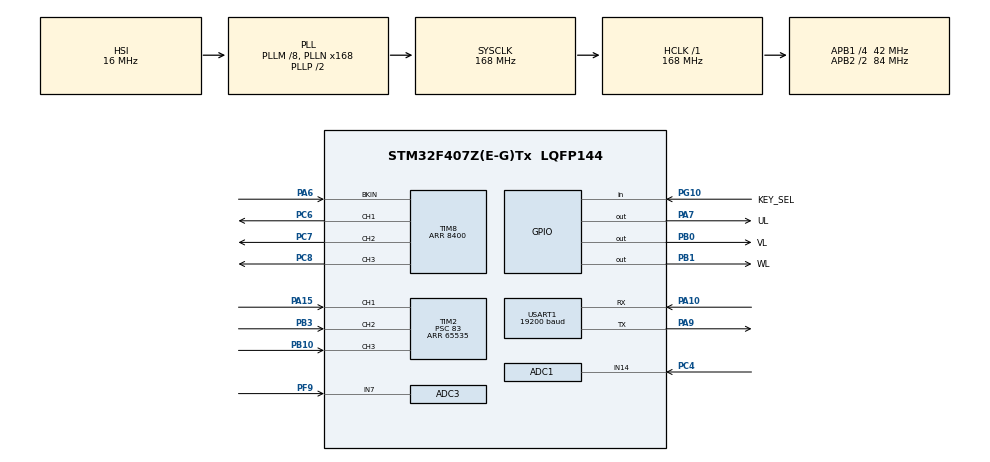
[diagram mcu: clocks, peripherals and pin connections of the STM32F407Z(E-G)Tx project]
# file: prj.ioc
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ADC1.Channel-0\#ChannelRegularConversion=ADC_CHANNEL_14
ADC1.ContinuousConvMode=ENABLE
ADC1.DMAContinuousRequests=ENABLE
ADC1.NbrOfConversionFlag=1
ADC1.Rank-0\#ChannelRegularConversion=1
ADC1.SamplingTime-0\#ChannelRegularConversion=ADC_SAMPLETIME_3CYCLES
ADC1.master=1
ADC3.Channel-0\#ChannelRegularConversion=ADC_CHANNEL_7
ADC3.ContinuousConvMode=ENABLE
ADC3.DMAContinuousRequests=ENABLE
ADC3.NbrOfConversionFlag=1
ADC3.Rank-0\#ChannelRegularConversion=1
ADC3.SamplingTime-0\#ChannelRegularConversion=ADC_SAMPLETIME_3CYCLES
Dma.ADC1.1.Direction=DMA_PERIPH_TO_MEMORY
Dma.ADC1.1.FIFOMode=DMA_FIFOMODE_DISABLE
Dma.ADC1.1.Instance=DMA2_Stream0
Dma.ADC1.1.MemDataAlignment=DMA_MDATAALIGN_HALFWORD
Dma.ADC1.1.MemInc=DMA_MINC_ENABLE
Dma.ADC1.1.Mode=DMA_CIRCULAR
Dma.ADC1.1.PeriphDataAlignment=DMA_PDATAALIGN_HALFWORD
Dma.ADC1.1.PeriphInc=DMA_PINC_DISABLE
Dma.ADC1.1.Priority=DMA_PRIORITY_HIGH
Dma.ADC3.0.Direction=DMA_PERIPH_TO_MEMORY
Dma.ADC3.0.FIFOMode=DMA_FIFOMODE_DISABLE
Dma.ADC3.0.Instance=DMA2_Stream1
Dma.ADC3.0.MemDataAlignment=DMA_MDATAALIGN_HALFWORD
Dma.ADC3.0.MemInc=DMA_MINC_ENABLE
Dma.ADC3.0.Mode=DMA_CIRCULAR
Dma.ADC3.0.PeriphDataAlignment=DMA_PDATAALIGN_HALFWORD
Dma.ADC3.0.PeriphInc=DMA_PINC_DISABLE
Dma.ADC3.0.Priority=DMA_PRIORITY_HIGH
Dma.Request0=ADC3
Dma.Request1=ADC1
Mcu.Family=STM32F4
Mcu.Name=STM32F407Z(E-G)Tx
Mcu.Package=LQFP144
NVIC.DMA2_Stream0_IRQn=true\:0\:0\:false\:false\:true\:false\:true
NVIC.DMA2_Stream1_IRQn=true\:0\:0\:false\:false\:true\:false\:true
NVIC.PriorityGroup=NVIC_PRIORITYGROUP_4
NVIC.TIM2_IRQn=true\:0\:0\:false\:false\:true\:true\:true
NVIC.TIM3_IRQn=true\:0\:0\:false\:false\:true\:true\:true
NVIC.TIM8_BRK_TIM12_IRQn=true\:0\:0\:false\:false\:true\:true\:true
NVIC.USART1_IRQn=true\:0\:0\:false\:false\:true\:true\:true
PA10.Mode=Asynchronous
PA10.Signal=USART1_RX
PA13.Mode=Serial_Wire
PA13.Signal=SYS_JTMS-SWDIO
PA14.Mode=Serial_Wire
PA14.Signal=SYS_JTCK-SWCLK
PA15.GPIO_Speed=GPIO_SPEED_FREQ_HIGH
PA15.Signal=S_TIM2_CH1_ETR
PA6.Mode=Activate-Break-Input
PA6.Signal=TIM8_BKIN
PA7.GPIO_Label=UL
PA7.GPIO_ModeDefaultOutputPP=GPIO_MODE_OUTPUT_PP
PA7.GPIO_PuPd=GPIO_PULLUP
PA7.GPIO_Speed=GPIO_SPEED_FREQ_VERY_HIGH
PA7.PinState=GPIO_PIN_RESET
PA7.Signal=GPIO_Output
PA9.Mode=Asynchronous
PA9.Signal=USART1_TX
PB0.GPIO_Label=VL
PB0.GPIO_ModeDefaultOutputPP=GPIO_MODE_OUTPUT_PP
PB0.GPIO_PuPd=GPIO_PULLUP
PB0.GPIO_Speed=GPIO_SPEED_FREQ_VERY_HIGH
PB0.PinState=GPIO_PIN_RESET
PB0.Signal=GPIO_Output
PB1.GPIO_Label=WL
PB1.GPIO_ModeDefaultOutputPP=GPIO_MODE_OUTPUT_PP
PB1.GPIO_PuPd=GPIO_PULLUP
PB1.GPIO_Speed=GPIO_SPEED_FREQ_VERY_HIGH
PB1.PinState=GPIO_PIN_RESET
PB1.Signal=GPIO_Output
PB10.GPIO_Speed=GPIO_SPEED_FREQ_HIGH
PB10.Signal=S_TIM2_CH3
PB3.GPIO_Speed=GPIO_SPEED_FREQ_HIGH
PB3.Signal=S_TIM2_CH2
PC4.Signal=ADCx_IN14
PC6.GPIO_Speed=GPIO_SPEED_FREQ_VERY_HIGH
PC6.Signal=S_TIM8_CH1
PC7.GPIO_Speed=GPIO_SPEED_FREQ_VERY_HIGH
PC7.Signal=S_TIM8_CH2
PC8.GPIO_Speed=GPIO_SPEED_FREQ_VERY_HIGH
PC8.Signal=S_TIM8_CH3
PF9.Mode=IN7
PF9.Signal=ADC3_IN7
PG10.GPIO_Label=KEY_SEL
PG10.GPIO_Mode=GPIO_MODE_INPUT
PG10.GPIO_PuPd=GPIO_PULLUP
PG10.Signal=GPIO_Input
PH0-OSC_IN.Mode=HSE-External-Oscillator
PH0-OSC_IN.Signal=RCC_OSC_IN
PH1-OSC_OUT.Mode=HSE-External-Oscillator
PH1-OSC_OUT.Signal=RCC_OSC_OUT
ProjectManager.HeapSize=0x200
ProjectManager.StackSize=0x400
ProjectManager.TargetToolchain=MDK-ARM V5.27
RCC.48MHZClocksFreq_Value=84000000
RCC.AHBFreq_Value=168000000
RCC.APB1CLKDivider=RCC_HCLK_DIV4
RCC.APB1Freq_Value=42000000
RCC.APB1TimFreq_Value=84000000
RCC.APB2CLKDivider=RCC_HCLK_DIV2
RCC.APB2Freq_Value=84000000
RCC.APB2TimFreq_Value=168000000
RCC.CortexFreq_Value=168000000
RCC.HCLKFreq_Value=168000000
RCC.HSE_VALUE=25000000
RCC.HSI_VALUE=16000000
RCC.LSE_VALUE=32768
RCC.PLLM=8
RCC.PLLN=168
RCC.SYSCLKFreq_VALUE=168000000
RCC.SYSCLKSource=RCC_SYSCLKSOURCE_PLLCLK
RCC.VCOOutputFreq_Value=336000000
SH.ADCx_IN14.0=ADC1_IN14,IN14
SH.S_TIM2_CH1_ETR.0=TIM2_CH1,Input_Capture1_from_TI1
SH.S_TIM2_CH2.0=TIM2_CH2,Input_Capture2_from_TI2
SH.S_TIM2_CH3.0=TIM2_CH3,Input_Capture3_from_TI3
SH.S_TIM8_CH1.0=TIM8_CH1,PWM Generation1 CH1
SH.S_TIM8_CH2.0=TIM8_CH2,PWM Generation2 CH2
SH.S_TIM8_CH3.0=TIM8_CH3,PWM Generation3 CH3
TIM2.AutoReloadPreload=TIM_AUTORELOAD_PRELOAD_ENABLE
TIM2.Channel-Input_Capture1_from_TI1=TIM_CHANNEL_1
TIM2.Channel-Input_Capture2_from_TI2=TIM_CHANNEL_2
TIM2.Channel-Input_Capture3_from_TI3=TIM_CHANNEL_3
TIM2.ICFilter_CH1=8
TIM2.ICFilter_CH2=8
TIM2.ICFilter_CH3=8
TIM2.ICPolarity_CH1=TIM_INPUTCHANNELPOLARITY_BOTHEDGE
TIM2.ICPolarity_CH2=TIM_INPUTCHANNELPOLARITY_BOTHEDGE
TIM2.ICPolarity_CH3=TIM_INPUTCHANNELPOLARITY_BOTHEDGE
TIM2.Period=65535
TIM2.Prescaler=83
TIM3.AutoReloadPreload=TIM_AUTORELOAD_PRELOAD_ENABLE
TIM3.Period=999
TIM3.Prescaler=83
TIM8.AutoReloadPreload=TIM_AUTORELOAD_PRELOAD_ENABLE
TIM8.BreakPolarity=TIM_BREAKPOLARITY_LOW
TIM8.Channel-PWM\ Generation1\ CH1=TIM_CHANNEL_1
TIM8.Channel-PWM\ Generation2\ CH2=TIM_CHANNEL_2
TIM8.Channel-PWM\ Generation3\ CH3=TIM_CHANNEL_3
TIM8.OffStateIDLEMode=TIM_OSSI_ENABLE
TIM8.OffStateRunMode=TIM_OSSR_ENABLE
TIM8.Period=8400
USART1.BaudRate=19200
USART1.VirtualMode=VM_ASYNC
VP_TIM2_VS_ClockSourceINT.Mode=Internal
VP_TIM2_VS_XOR.Mode=XOR_enable
VP_TIM3_VS_ClockSourceINT.Mode=Internal
VP_TIM8_VS_ClockSourceINT.Mode=Internal
board=custom

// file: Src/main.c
/* USER CODE BEGIN Header */
/**
  ******************************************************************************
  * @file           : main.c
  * @brief          : Main program body
  ******************************************************************************
  * @attention
  *
  * <h2><center>&copy; Copyright (c) 2022 STMicroelectronics.
  * All rights reserved.</center></h2>
  *
  * This software component is licensed by ST under BSD 3-Clause license,
  * the "License"; You may not use this file except in compliance with the
  * License. You may obtain a copy of the License at:
  *                        opensource.org/licenses/BSD-3-Clause
  *
  ******************************************************************************
  */
/* USER CODE END Header */
#include "main.h"
#include "adc.h"
#include "dma.h"
#include "tim.h"
#include "usart.h"
#include "gpio.h"

/* USER CODE BEGIN Includes */
#include "stm32_2.8_lcd.h"
/* USER CODE END Includes */

/* USER CODE BEGIN PD */
// 宏定义IO口开关
#define GPIO_OUT1_ON HAL_GPIO_WritePin(UL_GPIO_Port,UL_Pin,GPIO_PIN_SET)
#define GPIO_OUT1_OFF HAL_GPIO_WritePin(UL_GPIO_Port,UL_Pin,GPIO_PIN_RESET)
#define GPIO_OUT2_ON HAL_GPIO_WritePin(VL_GPIO_Port,UL_Pin,GPIO_PIN_SET)
#define GPIO_OUT2_OFF HAL_GPIO_WritePin(VL_GPIO_Port,UL_Pin,GPIO_PIN_RESET)
#define GPIO_OUT3_ON HAL_GPIO_WritePin(UL_GPIO_Port,WL_Pin,GPIO_PIN_SET)
#define GPIO_OUT3_OFF HAL_GPIO_WritePin(UL_GPIO_Port,WL_Pin,GPIO_PIN_RESET)
#define TIM8_CH1_ON HAL_TIM_PWM_Start(&htim8,TIM_CHANNEL_1)
#define TIM8_CH1_OFF HAL_TIM_PWM_Stop(&htim8,TIM_CHANNEL_1)
#define TIM8_CH2_ON HAL_TIM_PWM_Start(&htim8,TIM_CHANNEL_2)
#define TIM8_CH2_OFF HAL_TIM_PWM_Stop(&htim8,TIM_CHANNEL_2)
#define TIM8_CH3_ON HAL_TIM_PWM_Start(&htim8,TIM_CHANNEL_3)
#define TIM8_CH3_OFF HAL_TIM_PWM_Stop(&htim8,TIM_CHANNEL_3)
/* USER CODE END PD */

/* USER CODE BEGIN PV */
// 计数变量
static int timcnt, timcnt1, hallcnt;
// 霍尔状态
static int hall_a, hall_b, hall_c;
// ADC数据
uint16_t AdcBuf1 = 0;	// 母线
uint16_t AdcBuf3 = 0; // 电位器
/* USER CODE END PV */

void SystemClock_Config(void);
/* USER CODE BEGIN PFP */
// PWM控制
void PWM_Ctl(int hall_a,int hall_b,int hall_c);
/* USER CODE END PFP */

int main(void)
{

  /* MCU Configuration--------------------------------------------------------*/

  /* Reset of all peripherals, Initializes the Flash interface and the Systick. */
  HAL_Init();

  /* Configure the system clock */
  SystemClock_Config();

  /* Initialize all configured peripherals */
  MX_GPIO_Init();
  MX_DMA_Init();
  MX_ADC1_Init();
  MX_ADC3_Init();
  MX_TIM2_Init();
  MX_TIM3_Init();
  MX_TIM8_Init();
  MX_USART1_UART_Init();
  /* USER CODE BEGIN 2 */
	// LCD初始化
	STM32_LCD_Init();
	LCD_Clear(BackColor);
	LCD_SetTextColor(Blue);
	// 关闭DMA中断
	HAL_NVIC_DisableIRQ(DMA2_Stream0_IRQn);
	HAL_NVIC_DisableIRQ(DMA2_Stream1_IRQn);
	// 开启ADC-DMA
	HAL_ADC_Start(&hadc1);
	HAL_ADC_Start_DMA(&hadc1,(uint32_t*) &AdcBuf1,1);
	HAL_ADC_Start(&hadc3);
	HAL_ADC_Start_DMA(&hadc3,(uint32_t*) &AdcBuf3,1);
	// 使能TIM3中断
	HAL_TIM_Base_Start_IT(&htim3);
  /* USER CODE END 2 */

  /* Infinite loop */
  /* USER CODE BEGIN WHILE */
	// 数据初始化
	uint8_t stflag = 0;	// 运行标志位
	double speed = 0;		// 转速
	double duty_cycle = 0;	// 占空比
	uint16_t PwmCP = 0;		//定时器PWM比较值
  while (1)
  {
		if(!HAL_GPIO_ReadPin(KEY_SEL_GPIO_Port,KEY_SEL_Pin))
		{
			if(!stflag)
			{
				// 开启TIM2中断和TIM8刹车中断
				HAL_TIM_IC_Start_IT(&htim2,TIM_CHANNEL_1);
				HAL_TIM_IC_Start_IT(&htim2,TIM_CHANNEL_2);
				HAL_TIM_IC_Start_IT(&htim2,TIM_CHANNEL_3);
				__HAL_TIM_ENABLE_IT(&htim8, TIM_IT_BREAK);
				// TIM2换相上电
				HAL_TIM_IC_CaptureCallback(&htim2);
				HAL_Delay(4);
				HAL_TIM_IC_CaptureCallback(&htim2);
				stflag = 1;
			}
			if(timcnt>=10)// 10ms
			{
				speed=(double)hallcnt/0.01/6/4;// rps
				hallcnt=0;
				HAL_ADC_Start_DMA(&hadc3,(uint32_t*) &AdcBuf3,1);
				PwmCP=AdcBuf3;
				__HAL_TIM_SetCompare(&htim8,TIM_CHANNEL_1,PwmCP);
				__HAL_TIM_SetCompare(&htim8,TIM_CHANNEL_2,PwmCP);
				__HAL_TIM_SetCompare(&htim8,TIM_CHANNEL_3,PwmCP);
				timcnt=0;
			}
			if(timcnt1>=500)// 500ms
			{
				HAL_ADC_Start_DMA(&hadc1,(uint32_t*) &AdcBuf1,1);
				duty_cycle=(double)PwmCP*100/8401;
				LCD_DisplayStringLine(0,(uint8_t *)"Ptm");
				LCD_DisplayStringLine(2,(uint8_t *)"DutyCircle");
				LCD_DisplayStringLine(4,(uint8_t *)"CurSpeed");
				LCD_DisplayStringLine(6,(uint8_t *)"BusVol");
				LCD_Draw_NUM(0,150,AdcBuf3);
				LCD_Draw_NUM(50,150,duty_cycle);
				LCD_Draw_NUM(100,150,speed);
				LCD_Draw_NUM(150,150,AdcBuf1);
				timcnt1 = 0;
			}
		}
		else
		{
			// 关闭所有输出
			LCD_Clear(BackColor);
			LCD_SetTextColor(Blue);
			TIM8_CH1_OFF;TIM8_CH2_OFF;TIM8_CH3_OFF;
			GPIO_OUT1_OFF;GPIO_OUT2_OFF; GPIO_OUT3_OFF;
			__HAL_TIM_DISABLE_IT(&htim8, TIM_IT_BREAK);
			HAL_TIM_IC_Stop_IT(&htim2,TIM_CHANNEL_1);
			HAL_TIM_IC_Stop_IT(&htim2,TIM_CHANNEL_2);
			HAL_TIM_IC_Stop_IT(&htim2,TIM_CHANNEL_3);
			stflag=0;
		}
    /* USER CODE END WHILE */

  }
}

void SystemClock_Config(void)
{
  RCC_OscInitTypeDef RCC_OscInitStruct = {0};
  RCC_ClkInitTypeDef RCC_ClkInitStruct = {0};

  /** Configure the main internal regulator output voltage
  */
  __HAL_RCC_PWR_CLK_ENABLE();
  __HAL_PWR_VOLTAGESCALING_CONFIG(PWR_REGULATOR_VOLTAGE_SCALE1);
  /** Initializes the RCC Oscillators according to the specified parameters
  * in the RCC_OscInitTypeDef structure.
  */
  RCC_OscInitStruct.OscillatorType = RCC_OSCILLATORTYPE_HSI;
  RCC_OscInitStruct.HSIState = RCC_HSI_ON;
  RCC_OscInitStruct.HSICalibrationValue = RCC_HSICALIBRATION_DEFAULT;
  RCC_OscInitStruct.PLL.PLLState = RCC_PLL_ON;
  RCC_OscInitStruct.PLL.PLLSource = RCC_PLLSOURCE_HSI;
  RCC_OscInitStruct.PLL.PLLM = 8;
  RCC_OscInitStruct.PLL.PLLN = 168;
  RCC_OscInitStruct.PLL.PLLP = RCC_PLLP_DIV2;
  RCC_OscInitStruct.PLL.PLLQ = 4;
  if (HAL_RCC_OscConfig(&RCC_OscInitStruct) != HAL_OK)
  {
    Error_Handler();
  }
  /** Initializes the CPU, AHB and APB buses clocks
  */
  RCC_ClkInitStruct.ClockType = RCC_CLOCKTYPE_HCLK|RCC_CLOCKTYPE_SYSCLK
                              |RCC_CLOCKTYPE_PCLK1|RCC_CLOCKTYPE_PCLK2;
  RCC_ClkInitStruct.SYSCLKSource = RCC_SYSCLKSOURCE_PLLCLK;
  RCC_ClkInitStruct.AHBCLKDivider = RCC_SYSCLK_DIV1;
  RCC_ClkInitStruct.APB1CLKDivider = RCC_HCLK_DIV4;
  RCC_ClkInitStruct.APB2CLKDivider = RCC_HCLK_DIV2;

  if (HAL_RCC_ClockConfig(&RCC_ClkInitStruct, FLASH_LATENCY_5) != HAL_OK)
  {
    Error_Handler();
  }
}

/* USER CODE BEGIN 4 */
void PWM_Ctl(int hall_a,int hall_b,int hall_c)
{
	//关闭输出
	TIM8_CH1_OFF; TIM8_CH2_OFF; TIM8_CH3_OFF;
	GPIO_OUT1_OFF; GPIO_OUT2_OFF; GPIO_OUT3_OFF;
	//根据霍尔状态改变PWM输出
	if(hall_a==1 && hall_b==0 && hall_c==1)
	{
		TIM8_CH1_ON;
		GPIO_OUT2_ON;
	}
	else if(hall_a==1 && hall_b==0 && hall_c==0)
	{
		TIM8_CH1_ON;
		GPIO_OUT3_ON;
	}
	else if(hall_a==1 && hall_b==1 && hall_c==0)
	{
		TIM8_CH2_ON;
		GPIO_OUT3_ON;
	}
	else if(hall_a==0 && hall_b==1 && hall_c==0)
	{
		TIM8_CH2_ON;
		GPIO_OUT1_ON;
	}
	else if(hall_a==0 && hall_b==1 && hall_c==1)
	{
		TIM8_CH3_ON;
		GPIO_OUT1_ON;
	}
	else if(hall_a==0 && hall_b==0 && hall_c==1)
	{
		TIM8_CH3_ON;
		GPIO_OUT2_ON;
	}
}

// TIM3回调函数
void HAL_TIM_PeriodElapsedCallback (TIM_HandleTypeDef *htim)
{
	if(htim->Instance == TIM3)
	{
		timcnt++;
		timcnt1++;
	}
}

// 输入捕获回调
void HAL_TIM_IC_CaptureCallback(TIM_HandleTypeDef *htim)
{
	if(htim->Instance == TIM2)
	{
		hall_a=HAL_GPIO_ReadPin(GPIOA,GPIO_PIN_15);
		hall_b=HAL_GPIO_ReadPin(GPIOB,GPIO_PIN_3);
		hall_c=HAL_GPIO_ReadPin(GPIOB,GPIO_PIN_10);
		PWM_Ctl(hall_a,hall_b,hall_c);
		hallcnt++;
	}
}

// 刹车
void HAL_TIMEx_BreakCallback(TIM_HandleTypeDef *htim)
{
	if(htim->Instance == TIM8)
	{
		TIM8_CH1_OFF; TIM8_CH2_OFF; TIM8_CH3_OFF;
		GPIO_OUT1_OFF; GPIO_OUT2_OFF; GPIO_OUT3_OFF;
		__HAL_TIM_DISABLE_IT(&htim8, TIM_IT_BREAK);
	}
}
/* USER CODE END 4 */

void Error_Handler(void)
{
  __disable_irq();
  while (1)
  {
  }
}

/************************ (C) COPYRIGHT STMicroelectronics *****END OF FILE****/
